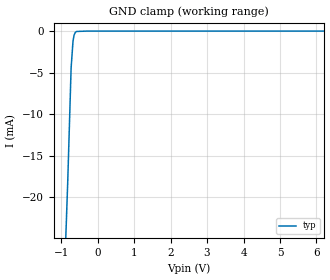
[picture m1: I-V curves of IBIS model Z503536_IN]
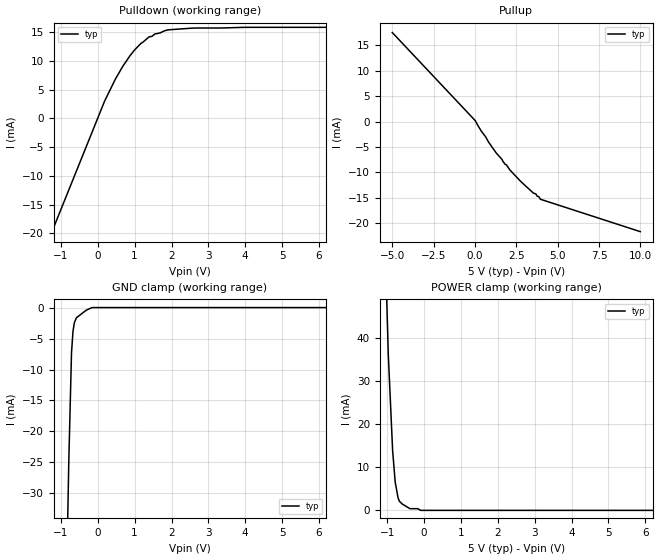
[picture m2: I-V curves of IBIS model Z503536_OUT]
| YOU ARE ONLY AUTHORIZED TO USE THIS SOFTWARE
| ACCORDING TO LICENSOR'S LICENSE RESTRICTIONS.
[IBIS Ver] 3.1
[File Name] mc14049ubcl.ibs
[File Rev] 2.0
[Source] Measured and created by ICX Technology
[Date] Friday 7/14/00 9:07:52 AM
[Copyright]
| (C) COPYRIGHT 1993-2000
| MENTOR GRAPHICS CORPORATION
| ICX STANDARD LIBRARY, ICX PROJECT MODELING,
| ICX CUSTOM MODELING, ICX VENDOR MODEL
| ALL RIGHTS RESERVED.
| THE FOLLOWING ARE TRADEMARKS OR SERVICE MARKS OF
| MENTOR GRAPHICS CORPORATION:ICX (R), ICX STANDARD
| LIBRARY(R), ICX PROJECT MODELING(R), ICX CUSTOM
| MODELING(R), qualityIBIS(TM), MODELVIEWER(TM),
| AND MODELEDITOR(TM)
| ALL COPIES OF SOFTWARE, INCLUDING BUT NOT LIMITED TO
| ANY MODIFICATIONS, ENHANCEMENTS OR DERIVATIVE WORKS,
| MUST CONTAIN ALL MENTOR GRAPHICS CORPORATION'S
| NOTICES AND LEGENDS, INCLUDING THOSE EMBEDDED IN
| SOFTWARE AND THOSE AFFIXED TO SOFTWARE MEDIUM
| AND CONTAINER, AS RECEIVED FROM MENTOR GRAPHICS
| CORPORATION.
|  ZAP Model Builder 2.7
[Component] MC14049UBCL
[Manufacturer] OnSemiconductor
[Package]
| variable   typ   min   max
R_pkg  .212ohms NA NA
L_pkg  4.758nH NA NA
C_pkg  1.944pF NA NA
[Pin] signal_name  model_name  R_pin  L_pin C_pin
1 VDD POWER .224 7.258n 2.683p
2 OUT Z503536_OUT .216 5.258n 2.19p
3 IN Z503536_IN .208 3.758n 1.697p
4 OUT Z503536_OUT .2 2.758n 1.204p
5 IN Z503536_IN .2 2.758n 1.204p
6 OUT Z503536_OUT .208 3.758n 1.697p
7 IN Z503536_IN .216 5.258n 2.19p
8 VSS POWER .224 7.258n 2.683p
9 IN Z503536_IN .224 7.258n 2.683p
10 OUT Z503536_OUT .216 5.258n 2.19p
11 IN Z503536_IN .208 3.758n 1.697p
12 OUT Z503536_OUT .2 2.758n 1.204p
13 NC NC .2 2.758n 1.204p
14 IN Z503536_IN .208 3.758n 1.697p
15 OUT Z503536_OUT .216 5.258n 2.19p
16 NC NC .224 7.258n 2.683p
| Models and submodels in the file (2): Z503536_IN (Input), Z503536_OUT (Output)
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| (C) COPYRIGHT 1993-2000
| MENTOR GRAPHICS CORPORATION
| ICX STANDARD LIBRARY, ICX PROJECT MODELING,
| ICX CUSTOM MODELING, ICX VENDOR MODEL
| ALL RIGHTS RESERVED.
| THE FOLLOWING ARE TRADEMARKS OR SERVICE MARKS OF
| MENTOR GRAPHICS CORPORATION:ICX (R), ICX STANDARD
| LIBRARY(R), ICX PROJECT MODELING(R), ICX CUSTOM
| MODELING(R), qualityIBIS(TM), MODELVIEWER(TM),
| AND MODELEDITOR(TM)
| ALL COPIES OF SOFTWARE, INCLUDING BUT NOT LIMITED TO
| ANY MODIFICATIONS, ENHANCEMENTS OR DERIVATIVE WORKS,
| MUST CONTAIN ALL MENTOR GRAPHICS CORPORATION'S
| NOTICES AND LEGENDS, INCLUDING THOSE EMBEDDED IN
| SOFTWARE AND THOSE AFFIXED TO SOFTWARE MEDIUM
| AND CONTAINER, AS RECEIVED FROM MENTOR GRAPHICS
| CORPORATION.
| Model Application Version 1.89 2/18/99.
[Model] Z503536_IN
Model_type Input
Vinl = 1.500V
Vinh = 3.500V
C_comp 4.000pF NA NA
| variable typ   min   max
[Voltage Range] 5.000V NA NA
[GND Clamp Reference] 0.000V NA NA
[POWER Clamp Reference] 5.000V NA NA
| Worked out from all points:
|   GND clamp passes 1 mA (typ) near -0.67 V on its own axis
[GND Clamp]
-5V       -539.1mA   NA         NA
-820.5mV  -18.43mA   NA         NA
-726mV    -4.43mA    NA         NA
-674.4mV  -1.225mA   NA         NA
-644.4mV  -465.7uA   NA         NA
-609.2mV  -145.7uA   NA         NA
-571mV    -37.84uA   NA         NA
-285.5mV  6.364uA    NA         NA
10V       6.364uA    NA         NA
[POWER Clamp]
-5V       0A         NA         NA
10V       0A         NA         NA
| (C) COPYRIGHT 1993-2000
| MENTOR GRAPHICS CORPORATION
| ICX STANDARD LIBRARY, ICX PROJECT MODELING,
| ICX CUSTOM MODELING, ICX VENDOR MODEL
| ALL RIGHTS RESERVED.
| THE FOLLOWING ARE TRADEMARKS OR SERVICE MARKS OF
| MENTOR GRAPHICS CORPORATION:ICX (R), ICX STANDARD
| LIBRARY(R), ICX PROJECT MODELING(R), ICX CUSTOM
| MODELING(R), qualityIBIS(TM), MODELVIEWER(TM),
| AND MODELEDITOR(TM)
| ALL COPIES OF SOFTWARE, INCLUDING BUT NOT LIMITED TO
| ANY MODIFICATIONS, ENHANCEMENTS OR DERIVATIVE WORKS,
| MUST CONTAIN ALL MENTOR GRAPHICS CORPORATION'S
| NOTICES AND LEGENDS, INCLUDING THOSE EMBEDDED IN
| SOFTWARE AND THOSE AFFIXED TO SOFTWARE MEDIUM
| AND CONTAINER, AS RECEIVED FROM MENTOR GRAPHICS
| CORPORATION.
| Model Application Version 1.89 2/18/99.
[Model] Z503536_OUT
Model_type Output
Vref=0.000V
Rref=500.0Mohms
Cref=50.00pF
Vmeas=2.500V
C_comp 8.000pF NA NA
| variable typ   min   max
[Voltage Range] 5.000V NA NA
[POWER Clamp Reference] 5.000V NA NA
[Pullup Reference] 5.000V NA NA
[Pulldown Reference] 0.000V NA NA
[GND Clamp Reference] 0.000V NA NA
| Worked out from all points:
|   slope of the pulldown table from 0 to 0.75 V, typ, clamps not added: 77.6 ohm
|   slope of the pullup table from 0 to 0.75 V, typ, clamps not added: 195 ohm
|   POWER clamp passes 1 mA (typ) near -0.50 V on its own axis
[GND Clamp]
-5V       -1.617A    NA         NA
-1.023V   -101.1mA   NA         NA
-787.3mV  -25.18mA   NA         NA
-712.4mV  -7.334mA   NA         NA
-672.7mV  -3.875mA   NA         NA
-634.8mV  -2.428mA   NA         NA
-577.9mV  -1.643mA   NA         NA
-306.9mV  -399.4uA   NA         NA
-153.4mV  0A         NA         NA
10V       0A         NA         NA
[Pulldown]
-5V       -79.44mA   NA         NA
185.6mV   3.012mA    NA         NA
478.6mV   6.842mA    NA         NA
674.6mV   9.015mA    NA         NA
873.9mV   10.9mA     NA         NA
1.173V    13.06mA    NA         NA
1.392V    14.18mA    NA         NA
1.47V     14.27mA    NA         NA
1.548V    14.68mA    NA         NA
1.905V    15.4mA     NA         NA
2.705V    15.72mA    NA         NA
10V       15.84mA    NA         NA
[Pullup]
-5V       17.46mA    NA         NA
23mV      155.2uA    NA         NA
818mV     -4.01mA    NA         NA
1.811V    -8.346mA   NA         NA
1.909V    -8.523mA   NA         NA
2.107V    -9.481mA   NA         NA
2.764V    -11.75mA   NA         NA
3.54V     -14.06mA   NA         NA
3.681V    -14.2mA    NA         NA
3.878V    -14.8mA    NA         NA
3.956V    -15.25mA   NA         NA
10V       -21.61mA   NA         NA
[POWER Clamp]
-5V       1.622A     NA         NA
-1.121V   81.61mA    NA         NA
-972mV    36.23mA    NA         NA
-854mV    13.87mA    NA         NA
-784mV    6.53mA     NA         NA
-706mV    2.884mA    NA         NA
-669mV    2.096mA    NA         NA
-591mV    1.46mA     NA         NA
-383.5mV  391.1uA    NA         NA
-176mV    391.1uA    NA         NA
-88mV     0A         NA         NA
10V       0A         NA         NA
[Ramp]
| variable typ min max
dV/dt_r 2.775/4.317n NA NA
dV/dt_f 2.775/8.235n NA NA
R_load = 2.500kOhms
